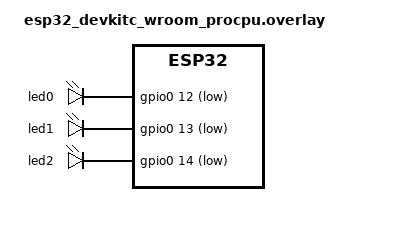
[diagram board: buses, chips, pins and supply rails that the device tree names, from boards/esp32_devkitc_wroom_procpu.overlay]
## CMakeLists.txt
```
cmake_minimum_required(VERSION 3.20.0)
find_package(Zephyr REQUIRED HINTS $ENV{ZEPHYR_BASE})
project(gpio_blink_example)
target_sources(app PRIVATE src/main.c)
```

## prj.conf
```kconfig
CONFIG_GPIO=y
CONFIG_PRINTK=y
# enable to use thread names
CONFIG_THREAD_NAME=y
CONFIG_TIMESLICING=y
CONFIG_TIMESLICE_SIZE=10
```

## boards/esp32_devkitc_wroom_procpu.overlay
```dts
/ {
    aliases {
        led0 = &led0;
        led1 = &led1;
        led2 = &led2;
    };

    gpio {
        compatible = "gpio-leds";
        
        
        led0: led_0 {
            
            
            gpios = <&gpio0 12 GPIO_ACTIVE_LOW>;  // Use GPIO2
            
        };
        
        led1: led_1 {
            

            gpios = <&gpio0 13 GPIO_ACTIVE_LOW>;  // Use GPIO2
            
        };
        led2: led_2 {
            

            gpios = <&gpio0 14 GPIO_ACTIVE_LOW>;  // Use GPIO2
            
        };
      
    };

};
```

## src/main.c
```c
#include <zephyr/kernel.h>
#include <zephyr/drivers/gpio.h>
#include <zephyr/device.h>
#include <zephyr/devicetree.h>
#include <stdio.h>
/* size of stack area used by each thread */
#define STACKSIZE 1024

#define PRIORITY_THREAD_1	(1)
#define PRIORITY_THREAD_2	(1)
#define PRIORITY_THREAD_3 	(1)

#define LED_NODE DT_ALIAS(led0)
#define LED_NODE DT_ALIAS(led1)
#define LED_NODE DT_ALIAS(led2)

	static const struct gpio_dt_spec led0 = GPIO_DT_SPEC_GET(DT_ALIAS(led0), gpios);
	static const struct gpio_dt_spec led1 = GPIO_DT_SPEC_GET(DT_ALIAS(led1), gpios);
	static const struct gpio_dt_spec led2 = GPIO_DT_SPEC_GET(DT_ALIAS(led2), gpios);

K_THREAD_STACK_DEFINE(thread_1_stack_area, STACKSIZE);
static struct k_thread thread_1_data;

K_THREAD_STACK_DEFINE(thread_2_stack_area, STACKSIZE);
static struct k_thread thread_2_data;

K_THREAD_STACK_DEFINE(thread_3_stack_area, STACKSIZE);
static struct k_thread thread_3_data;

void thread_1(void *dummy1, void *dummy2, void *dummy3)
{
	ARG_UNUSED(dummy1);
	ARG_UNUSED(dummy2);
	ARG_UNUSED(dummy3);
	gpio_pin_configure_dt(&led0, GPIO_OUTPUT_ACTIVE);
	printk("thread_1: thread started \n");
	

	while (1)
	{
		printk("thread_1: thread loop \n");
		 gpio_pin_toggle_dt(&led0);
		k_msleep(8000);
	}

}

void thread_2(void *dummy1, void *dummy2, void *dummy3)
{
	ARG_UNUSED(dummy1);
	ARG_UNUSED(dummy2);
	ARG_UNUSED(dummy3);
gpio_pin_configure_dt(&led1, GPIO_OUTPUT_ACTIVE);
	printk("thread_2: thread started \n");

	while (1)
	{

		printk("thread_2: thread loop \n");
		 gpio_pin_toggle_dt(&led1);
		k_msleep(4000);
	}

}

void thread_3(void *dummy1, void *dummy2, void *dummy3)
{
	ARG_UNUSED(dummy1);
	ARG_UNUSED(dummy2);
	ARG_UNUSED(dummy3);
	gpio_pin_configure_dt(&led2, GPIO_OUTPUT_ACTIVE);
	printk("thread_3: thread started \n");

	while (1)
	{
		printk("thread_3: thread loop \n");
		 gpio_pin_toggle_dt(&led2);
		k_msleep(2000);
		
	}

}
	

void main(void)
{
	
		
		
		
	k_thread_create(&thread_1_data, thread_1_stack_area,
			K_THREAD_STACK_SIZEOF(thread_1_stack_area),
			thread_1, NULL, NULL, NULL,
			PRIORITY_THREAD_1, 0, K_FOREVER);
	k_thread_name_set(&thread_1_data, "thread_1");

	k_thread_create(&thread_2_data, thread_2_stack_area,
			K_THREAD_STACK_SIZEOF(thread_2_stack_area),
			thread_2, NULL, NULL, NULL,
			PRIORITY_THREAD_2, 0, K_FOREVER);
	k_thread_name_set(&thread_2_data, "thread_2");

	k_thread_create(&thread_3_data, thread_3_stack_area,
			K_THREAD_STACK_SIZEOF(thread_3_stack_area),
			thread_3, NULL, NULL, NULL,
			PRIORITY_THREAD_3, 0, K_FOREVER);
	k_thread_name_set(&thread_3_data, "thread_3");

	k_thread_start(&thread_1_data);
	k_thread_start(&thread_2_data);
	k_thread_start(&thread_3_data);
}
```
